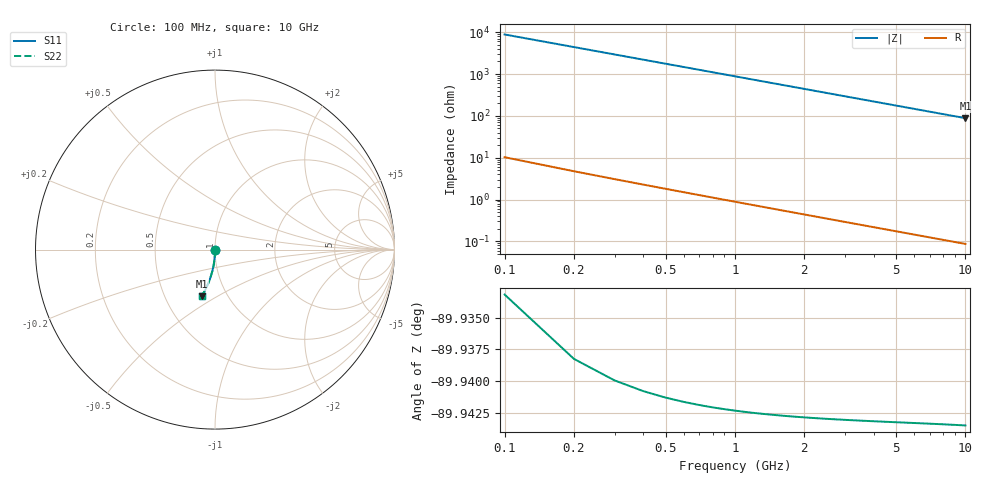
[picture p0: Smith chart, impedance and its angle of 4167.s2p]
# Hz S RI R 50.00
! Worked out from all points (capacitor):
!   100 points, 100 MHz to 10 GHz, reference 50 ohm
!   read as one part in shunt: C = 181 fF near 100 MHz
!   lowest |Z| = 88.1 ohm at 10 GHz (marker M1)
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1e8  1.13e-05 -0.00281  1 -0.00287  1 -0.00287  1.13e-05 -0.00281
2e8  -1.56e-05 -0.00562  0.9999 -0.00573  0.9999 -0.00573  -1.56e-05 -0.00562
3e8  -5.86e-05 -0.00843  0.9999 -0.0086  0.9999 -0.0086  -5.86e-05 -0.00843
4e8  -0.000118 -0.0112  0.9998 -0.0115  0.9998 -0.0115  -0.000118 -0.0112
5e8  -0.000193 -0.014  0.9998 -0.0143  0.9998 -0.0143  -0.000193 -0.014
6e8  -0.000284 -0.0169  0.9997 -0.0172  0.9997 -0.0172  -0.000284 -0.0169
7e8  -0.000392 -0.0197  0.9996 -0.0201  0.9996 -0.0201  -0.000392 -0.0197
8e8  -0.000515 -0.0225  0.9994 -0.0229  0.9994 -0.0229  -0.000515 -0.0225
9e8  -0.000655 -0.0253  0.9993 -0.0258  0.9993 -0.0258  -0.000655 -0.0253
1.1e9  -0.000982 -0.0309  0.999 -0.0315  0.999 -0.0315  -0.000982 -0.0309
1.4e9  -0.00159 -0.0393  0.9984 -0.0401  0.9984 -0.0401  -0.00159 -0.0393
1.8e9  -0.00263 -0.0505  0.9973 -0.0515  0.9973 -0.0515  -0.00263 -0.0505
2.1e9  -0.00358 -0.0588  0.9964 -0.06  0.9964 -0.06  -0.00358 -0.0588
2.5e9  -0.00506 -0.0699  0.9949 -0.0713  0.9949 -0.0713  -0.00506 -0.0699
2.9e9  -0.00679 -0.0809  0.9932 -0.0826  0.9932 -0.0826  -0.00679 -0.0809
3.4e9  -0.0093 -0.0946  0.9907 -0.0966  0.9907 -0.0966  -0.0093 -0.0946
4.2e9  -0.0141 -0.1163  0.9858 -0.1187  0.9858 -0.1187  -0.0141 -0.1163
5.1e9  -0.0206 -0.1403  0.9793 -0.1432  0.9793 -0.1432  -0.0206 -0.1403
5.9e9  -0.0274 -0.1612  0.9725 -0.1645  0.9725 -0.1645  -0.0274 -0.1612
6.7e9  -0.0351 -0.1816  0.9649 -0.1854  0.9649 -0.1854  -0.0351 -0.1816
8.4e9  -0.054 -0.2231  0.946 -0.2279  0.946 -0.2279  -0.054 -0.2231
1e10  -0.0748 -0.2597  0.9252 -0.2654  0.9252 -0.2654  -0.0748 -0.2597
